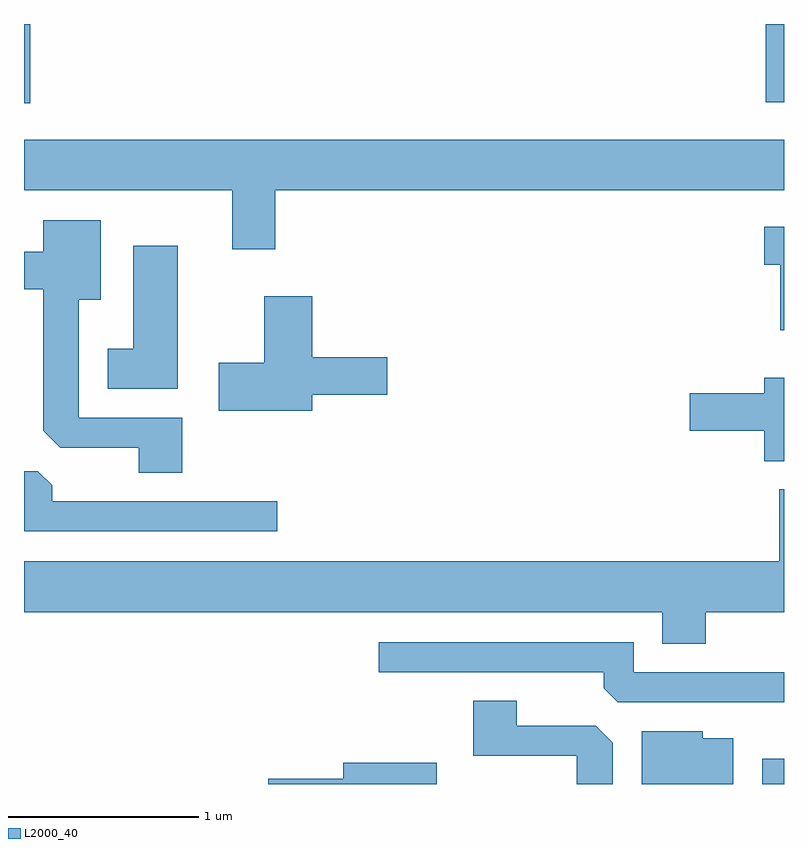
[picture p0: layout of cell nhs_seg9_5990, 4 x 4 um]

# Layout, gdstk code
import gdstk
lib = gdstk.Library(unit=1e-6, precision=1e-09)
def R(c, l, rs):  # rectangles x0, y0, x1, y1
    for r in rs: c.add(gdstk.rectangle(r[:2], r[2:], *l))
def P(c, l, *ps):  # polygons
    for p in ps: c.add(gdstk.Polygon(p, *l))
L2000_40 = (2000, 40)

nhs_seg9_5990 = lib.new_cell('nhs_seg9_5990')
R(nhs_seg9_5990, L2000_40, [(365.496,2026.432,365.611,2026.564), (361.611,2030.016,361.644,2030.432), (365.516,2030.021,365.611,2030.432)])
P(nhs_seg9_5990, L2000_40, [(362.934,2029.556),(365.611,2029.556),(365.611,2029.824),(361.611,2029.824),(361.611,2029.556),(362.706,2029.556),(362.706,2029.246),(362.934,2029.246)],
  [(362.444,2028.359),(361.899,2028.359),(361.899,2028.981),(362.014,2028.981),(362.014,2029.399),(361.711,2029.399),(361.711,2029.234),(361.611,2029.234),(361.611,2029.036),(361.711,2029.036),(361.711,2028.292),(361.802,2028.201),(362.216,2028.201),(362.216,2028.071),(362.444,2028.071)],
  [(365.611,2029.364),(365.506,2029.364),(365.506,2029.166),(365.591,2029.166),(365.591,2028.821),(365.611,2028.821)],
  [(362.419,2029.264),(362.186,2029.264),(362.186,2028.724),(362.051,2028.724),(362.051,2028.511),(362.419,2028.511)],
  [(363.129,2028.481),(363.524,2028.481),(363.524,2028.679),(363.129,2028.679),(363.129,2028.999),(362.876,2028.999),(362.876,2028.649),(362.636,2028.649),(362.636,2028.396),(363.129,2028.396)],
  [(365.611,2028.569),(365.506,2028.569),(365.506,2028.489),(365.116,2028.489),(365.116,2028.291),(365.506,2028.291),(365.506,2028.131),(365.611,2028.131)],
  [(362.943,2027.919),(361.759,2027.919),(361.759,2028.004),(361.684,2028.079),(361.611,2028.079),(361.611,2027.761),(362.943,2027.761)],
  [(365.199,2027.336),(365.611,2027.336),(365.611,2027.983),(365.586,2027.983),(365.586,2027.604),(361.611,2027.604),(361.611,2027.336),(364.971,2027.336),(364.971,2027.171),(365.199,2027.171)],
  [(365.611,2027.019),(364.819,2027.019),(364.819,2027.179),(363.478,2027.179),(363.478,2027.021),(364.661,2027.021),(364.661,2026.937),(364.737,2026.861),(365.611,2026.861)],
  [(364.709,2026.649),(364.619,2026.739),(364.204,2026.739),(364.204,2026.869),(363.976,2026.869),(363.976,2026.581),(364.521,2026.581),(364.521,2026.432),(364.709,2026.432)],
  [(365.344,2026.674),(365.184,2026.674),(365.184,2026.709),(364.861,2026.709),(364.861,2026.432),(365.344,2026.432)],
  [(363.784,2026.544),(363.291,2026.544),(363.291,2026.459),(362.896,2026.459),(362.896,2026.432),(363.784,2026.432)])

lib.write_gds('nhs_seg9_5990.gds')
